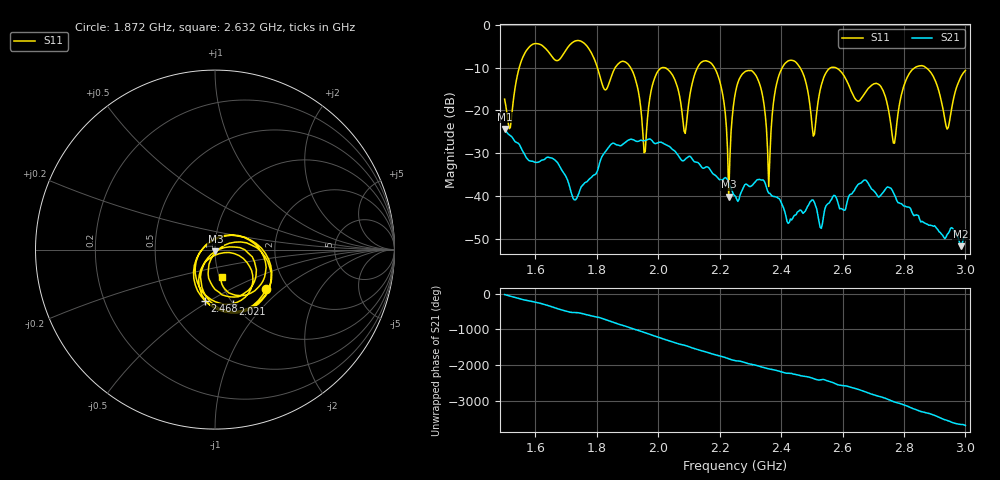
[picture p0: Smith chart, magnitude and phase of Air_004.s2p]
# HZ S RI R 50
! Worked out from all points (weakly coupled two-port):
!   404 points, 1.5 GHz to 3 GHz, reference 50 ohm
!   highest |S21| = -24.35 dB at 1.5 GHz (marker M1); lowest = -51.8 dB at 2.985 GHz (marker M2)
!   lowest |S11| = -40.2 dB at 2.23 GHz (marker M3), VSWR 1.02, Z = 50.2 - j0.967 ohm
!   |S11| at or under -10 dB: 2.183 GHz to 2.404 GHz (220.6 MHz wide, 9.62 % of centre); 2.578 GHz to 2.835 GHz (257.4 MHz wide, 9.51 % of centre); 2.873 GHz to end of sweep (the widest 3 of 8)
!   S12 and S22 are empty: the file has one direction only
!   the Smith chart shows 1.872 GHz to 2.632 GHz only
!   S11 on the Smith chart (normalised r, x): 1.872 GHz: 1.56, -0.77; 2.021 GHz: 1.00, -0.67; 2.468 GHz: 0.76, -0.47; 2.632 GHz: 1.02, -0.33
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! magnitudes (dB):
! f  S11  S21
! 1.5 GHz  -17.3  -24.4
! 1.753 GHz  -4.0  -37.5
! 1.872 GHz  -8.9  -28.2
! 1.954 GHz  -29.9  -27.1
! 2.002 GHz  -10.5  -27.4
! 2.021 GHz  -10.0  -27.9
! 2.088 GHz  -25.4  -31.4
! 2.177 GHz  -9.4  -34.8
! 2.23 GHz  -40.2  -36.8
! 2.252 GHz  -15.6  -40.1
! 2.319 GHz  -11.9  -36.5
! 2.36 GHz  -37.8  -39.3
! 2.397 GHz  -11.0  -41.0
! 2.468 GHz  -10.8  -43.7
! 2.501 GHz  -23.8  -40.9
! 2.557 GHz  -10.2  -41.6
! 2.632 GHz  -15.9  -39.4
! 2.751 GHz  -20.3  -38.0
! 2.859 GHz  -9.5  -45.9
! 2.94 GHz  -24.3  -49.0
! 2.985 GHz  -12.2  -51.8
! 3 GHz  -10.6  -49.1
